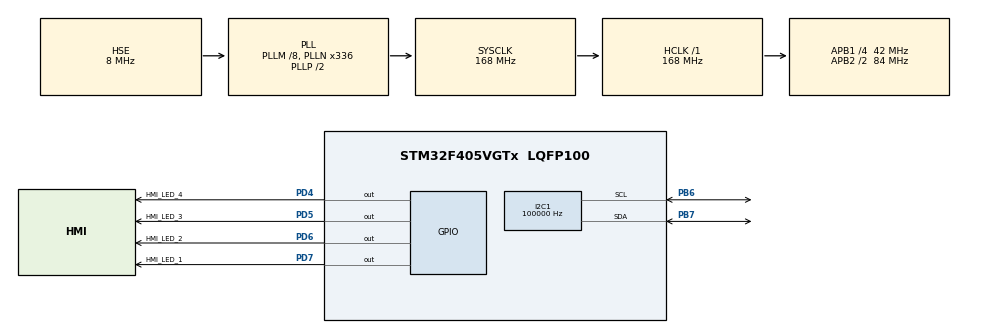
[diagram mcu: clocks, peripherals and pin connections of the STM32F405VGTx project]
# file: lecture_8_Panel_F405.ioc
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I2C1.ClockSpeed=100000
Mcu.Family=STM32F4
Mcu.Name=STM32F405VGTx
Mcu.Package=LQFP100
NVIC.PriorityGroup=NVIC_PRIORITYGROUP_4
PA13.Mode=Serial_Wire
PA13.Signal=SYS_JTMS-SWDIO
PA14.Mode=Serial_Wire
PA14.Signal=SYS_JTCK-SWCLK
PB6.Mode=I2C
PB6.Signal=I2C1_SCL
PB7.Mode=I2C
PB7.Signal=I2C1_SDA
PD4.GPIO_Label=HMI_LED_4
PD4.GPIO_ModeDefaultOutputPP=GPIO_MODE_OUTPUT_PP
PD4.GPIO_PuPd=GPIO_NOPULL
PD4.GPIO_Speed=GPIO_SPEED_FREQ_LOW
PD4.PinState=GPIO_PIN_RESET
PD4.Signal=GPIO_Output
PD5.GPIO_Label=HMI_LED_3
PD5.GPIO_ModeDefaultOutputPP=GPIO_MODE_OUTPUT_PP
PD5.GPIO_PuPd=GPIO_NOPULL
PD5.GPIO_Speed=GPIO_SPEED_FREQ_LOW
PD5.PinState=GPIO_PIN_RESET
PD5.Signal=GPIO_Output
PD6.GPIO_Label=HMI_LED_2
PD6.GPIO_ModeDefaultOutputPP=GPIO_MODE_OUTPUT_PP
PD6.GPIO_PuPd=GPIO_NOPULL
PD6.GPIO_Speed=GPIO_SPEED_FREQ_LOW
PD6.PinState=GPIO_PIN_RESET
PD6.Signal=GPIO_Output
PD7.GPIO_Label=HMI_LED_1
PD7.GPIO_ModeDefaultOutputPP=GPIO_MODE_OUTPUT_PP
PD7.GPIO_PuPd=GPIO_NOPULL
PD7.GPIO_Speed=GPIO_SPEED_FREQ_LOW
PD7.PinState=GPIO_PIN_RESET
PD7.Signal=GPIO_Output
PH0-OSC_IN.Mode=HSE-External-Oscillator
PH0-OSC_IN.Signal=RCC_OSC_IN
PH1-OSC_OUT.Mode=HSE-External-Oscillator
PH1-OSC_OUT.Signal=RCC_OSC_OUT
ProjectManager.HeapSize=0x200
ProjectManager.StackSize=0x400
ProjectManager.TargetToolchain=STM32CubeIDE
RCC.AHBFreq_Value=168000000
RCC.APB1CLKDivider=RCC_HCLK_DIV4
RCC.APB1Freq_Value=42000000
RCC.APB1TimFreq_Value=84000000
RCC.APB2CLKDivider=RCC_HCLK_DIV2
RCC.APB2Freq_Value=84000000
RCC.APB2TimFreq_Value=168000000
RCC.CortexFreq_Value=168000000
RCC.HCLKFreq_Value=168000000
RCC.HSE_VALUE=8000000
RCC.HSI_VALUE=16000000
RCC.LSE_VALUE=32768
RCC.PLLM=8
RCC.PLLN=336
RCC.PLLQ=7
RCC.PLLSourceVirtual=RCC_PLLSOURCE_HSE
RCC.SYSCLKFreq_VALUE=168000000
RCC.SYSCLKSource=RCC_SYSCLKSOURCE_PLLCLK
RCC.VCOOutputFreq_Value=336000000
board=custom

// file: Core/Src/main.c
/* USER CODE BEGIN Header */
/**
  ******************************************************************************
  * @file           : main.c
  * @brief          : Main program body
  ******************************************************************************
  * @attention
  *
  * Copyright (c) 2026 STMicroelectronics.
  * All rights reserved.
  *
  * This software is licensed under terms that can be found in the LICENSE file
  * in the root directory of this software component.
  * If no LICENSE file comes with this software, it is provided AS-IS.
  *
  ******************************************************************************
  */
/* USER CODE END Header */
#include "main.h"
#include "i2c.h"
#include "gpio.h"

/* USER CODE BEGIN Includes */
#include "light_sensor.h"
#include "OLED.h"     // [panel] a kijelzo meghajtoja (ugyanaz, mint a labor 4-ben)
#include <stdio.h>    // [panel] sprintf
/* USER CODE END Includes */

/* USER CODE BEGIN PV */

// LED limit levels
const uint16_t LIMIT_OFF = 1000;
const uint16_t LIMIT_1 = 2000;
const uint16_t LIMIT_2 = 3000;
const uint16_t LIMIT_3 = 4000;
// [panel] a szenzor cime (a light_sensor.c-ben van megadva)
extern const uint8_t LIGHT_SENSOR_ADDRESS;
/* USER CODE END PV */

void SystemClock_Config(void);

/* USER CODE BEGIN 0 */
// [panel] I2C-busz helyreallitasa. Ha a feltoltes vagy a reset egy atvitel kozepen erte a buszt,
// a szenzor lefogva tarthatja az SDA-t (neki nincs reset laba, csak a tap elvetele allitja vissza).
// Ilyenkor minden I2C-hivas hibat ad. A gyogymod: legfeljebb 9 orajel az SCL-en, amig az SDA
// el nem engedodik, aztan egy STOP. Az MX_I2C1_Init() elott kell lefutnia.
static void I2C_Bus_Recovery(void)
{
  GPIO_InitTypeDef gpio = {0};
  __HAL_RCC_GPIOB_CLK_ENABLE();
  HAL_GPIO_WritePin(GPIOB, GPIO_PIN_6 | GPIO_PIN_7, GPIO_PIN_SET);
  gpio.Pin = GPIO_PIN_6 | GPIO_PIN_7;          // PB6 = SCL, PB7 = SDA, most sima open-drain kimenetkent
  gpio.Mode = GPIO_MODE_OUTPUT_OD;
  gpio.Pull = GPIO_NOPULL;
  gpio.Speed = GPIO_SPEED_FREQ_LOW;
  HAL_GPIO_Init(GPIOB, &gpio);
  for (int i = 0; i < 9 && HAL_GPIO_ReadPin(GPIOB, GPIO_PIN_7) == GPIO_PIN_RESET; i++)
  {
    HAL_GPIO_WritePin(GPIOB, GPIO_PIN_6, GPIO_PIN_RESET);
    HAL_Delay(1);
    HAL_GPIO_WritePin(GPIOB, GPIO_PIN_6, GPIO_PIN_SET);
    HAL_Delay(1);
  }
  // START, majd STOP (SDA le, aztan fel, mikozben az SCL magas): minden eszkoz alapallapotba ker
  HAL_GPIO_WritePin(GPIOB, GPIO_PIN_7, GPIO_PIN_RESET);
  HAL_Delay(1);
  HAL_GPIO_WritePin(GPIOB, GPIO_PIN_7, GPIO_PIN_SET);
  HAL_Delay(1);
}
/* USER CODE END 0 */

int main(void)
{

  /* MCU Configuration--------------------------------------------------------*/

  /* Reset of all peripherals, Initializes the Flash interface and the Systick. */
  HAL_Init();

  /* Configure the system clock */
  SystemClock_Config();

  /* USER CODE BEGIN SysInit */
  I2C_Bus_Recovery();   // [panel] lasd fent
/* USER CODE END SysInit */

  /* Initialize all configured peripherals */
  MX_GPIO_Init();
  MX_I2C1_Init();
  /* USER CODE BEGIN 2 */

  // [panel] A kijelzo inditasa: ezen latszik a mert ertek (ebbol lehet kalibralni)
  OLED_Init();
  OLED_Fill(BLACK);
  OLED_SetCursor(0, 0);
  OLED_WriteString("Feny (CH0):", Font_7x10, WHITE);
  OLED_UpdateScreen();

/* USER CODE END 2 */

  /* Infinite loop */
  /* USER CODE BEGIN WHILE */
  // Switch on the light sensor
  Light_Sensor_Power_On(SIMPLE_MODE);

  // [panel] A szenzor a beallitasait addig megjegyzi, amig van tapja; egy rovid USB ki-be sem torli
  // (kiprobalva). Ezert az alap erositest (1x, 402 ms: TIMING = 0x02) minden indulaskor visszairjuk.
  uint8_t timing_default = 0x02;
  HAL_I2C_Mem_Write(&hi2c1, LIGHT_SENSOR_ADDRESS, TIMING, I2C_MEMADD_SIZE_8BIT, &timing_default, 1, 100);

  while (1)
  {
    /* USER CODE END WHILE */

    /* USER CODE BEGIN 3 */
	  // Measured data reading
	  uint16_t light_sensor_value = Light_Sensor_Read_Value(SIMPLE_MODE);

	  // Switch on the LEDs based on the measured value and the limit levels
	  if (light_sensor_value < LIMIT_OFF)
	  {
		  HAL_GPIO_WritePin(HMI_LED_1_GPIO_Port, HMI_LED_1_Pin, GPIO_PIN_RESET);
		  HAL_GPIO_WritePin(HMI_LED_2_GPIO_Port, HMI_LED_2_Pin, GPIO_PIN_RESET);
		  HAL_GPIO_WritePin(HMI_LED_3_GPIO_Port, HMI_LED_3_Pin, GPIO_PIN_RESET);
		  HAL_GPIO_WritePin(HMI_LED_4_GPIO_Port, HMI_LED_4_Pin, GPIO_PIN_RESET);
	  }
	  else if (light_sensor_value < LIMIT_1)
	  {
		  HAL_GPIO_WritePin(HMI_LED_1_GPIO_Port, HMI_LED_1_Pin, GPIO_PIN_SET);
		  HAL_GPIO_WritePin(HMI_LED_2_GPIO_Port, HMI_LED_2_Pin, GPIO_PIN_RESET);
		  HAL_GPIO_WritePin(HMI_LED_3_GPIO_Port, HMI_LED_3_Pin, GPIO_PIN_RESET);
		  HAL_GPIO_WritePin(HMI_LED_4_GPIO_Port, HMI_LED_4_Pin, GPIO_PIN_RESET);
	  }
	  else if (light_sensor_value < LIMIT_2)
	  {
		  HAL_GPIO_WritePin(HMI_LED_1_GPIO_Port, HMI_LED_1_Pin, GPIO_PIN_SET);
		  HAL_GPIO_WritePin(HMI_LED_2_GPIO_Port, HMI_LED_2_Pin, GPIO_PIN_SET);
		  HAL_GPIO_WritePin(HMI_LED_3_GPIO_Port, HMI_LED_3_Pin, GPIO_PIN_RESET);
		  HAL_GPIO_WritePin(HMI_LED_4_GPIO_Port, HMI_LED_4_Pin, GPIO_PIN_RESET);
	  }
	  else if (light_sensor_value < LIMIT_3)
	  {
		  HAL_GPIO_WritePin(HMI_LED_1_GPIO_Port, HMI_LED_1_Pin, GPIO_PIN_SET);
		  HAL_GPIO_WritePin(HMI_LED_2_GPIO_Port, HMI_LED_2_Pin, GPIO_PIN_SET);
		  HAL_GPIO_WritePin(HMI_LED_3_GPIO_Port, HMI_LED_3_Pin, GPIO_PIN_SET);
		  HAL_GPIO_WritePin(HMI_LED_4_GPIO_Port, HMI_LED_4_Pin, GPIO_PIN_RESET);
	  }
	  else
	  {
		  HAL_GPIO_WritePin(HMI_LED_1_GPIO_Port, HMI_LED_1_Pin, GPIO_PIN_SET);
		  HAL_GPIO_WritePin(HMI_LED_2_GPIO_Port, HMI_LED_2_Pin, GPIO_PIN_SET);
		  HAL_GPIO_WritePin(HMI_LED_3_GPIO_Port, HMI_LED_3_Pin, GPIO_PIN_SET);
		  HAL_GPIO_WritePin(HMI_LED_4_GPIO_Port, HMI_LED_4_Pin, GPIO_PIN_SET);
	  }

	  // [panel] A mert ertek kiirasa a kijelzore
	  char text[8];
	  sprintf(text, "%5u", (unsigned) light_sensor_value);
	  OLED_SetCursor(0, 20);
	  OLED_WriteString(text, Font_16x26, WHITE);
	  OLED_UpdateScreen();
  }
  /* USER CODE END 3 */
}

void SystemClock_Config(void)
{
  RCC_OscInitTypeDef RCC_OscInitStruct = {0};
  RCC_ClkInitTypeDef RCC_ClkInitStruct = {0};

  /** Configure the main internal regulator output voltage
  */
  __HAL_RCC_PWR_CLK_ENABLE();
  __HAL_PWR_VOLTAGESCALING_CONFIG(PWR_REGULATOR_VOLTAGE_SCALE1);

  /** Initializes the RCC Oscillators according to the specified parameters
  * in the RCC_OscInitTypeDef structure.
  */
  RCC_OscInitStruct.OscillatorType = RCC_OSCILLATORTYPE_HSE;
  RCC_OscInitStruct.HSEState = RCC_HSE_ON;
  RCC_OscInitStruct.PLL.PLLState = RCC_PLL_ON;
  RCC_OscInitStruct.PLL.PLLSource = RCC_PLLSOURCE_HSE;
  RCC_OscInitStruct.PLL.PLLM = 8;
  RCC_OscInitStruct.PLL.PLLN = 336;
  RCC_OscInitStruct.PLL.PLLP = RCC_PLLP_DIV2;
  RCC_OscInitStruct.PLL.PLLQ = 7;
  if (HAL_RCC_OscConfig(&RCC_OscInitStruct) != HAL_OK)
  {
    Error_Handler();
  }

  /** Initializes the CPU, AHB and APB buses clocks
  */
  RCC_ClkInitStruct.ClockType = RCC_CLOCKTYPE_HCLK|RCC_CLOCKTYPE_SYSCLK
                              |RCC_CLOCKTYPE_PCLK1|RCC_CLOCKTYPE_PCLK2;
  RCC_ClkInitStruct.SYSCLKSource = RCC_SYSCLKSOURCE_PLLCLK;
  RCC_ClkInitStruct.AHBCLKDivider = RCC_SYSCLK_DIV1;
  RCC_ClkInitStruct.APB1CLKDivider = RCC_HCLK_DIV4;
  RCC_ClkInitStruct.APB2CLKDivider = RCC_HCLK_DIV2;

  if (HAL_RCC_ClockConfig(&RCC_ClkInitStruct, FLASH_LATENCY_5) != HAL_OK)
  {
    Error_Handler();
  }
}

void Error_Handler(void)
{
  /* USER CODE BEGIN Error_Handler_Debug */
  /* User can add his own implementation to report the HAL error return state */
  // [panel] Ha a szenzor nem valaszol (rossz cim, rossz bekotes): kiirjuk, es mind a 4 LED egyutt villog
  OLED_SetCursor(0, 52);
  OLED_WriteString("I2C HIBA", Font_7x10, WHITE);
  OLED_UpdateScreen();
  __disable_irq();
  while (1)
  {
    HAL_GPIO_TogglePin(GPIOD, HMI_LED_1_Pin | HMI_LED_2_Pin | HMI_LED_3_Pin | HMI_LED_4_Pin);
    for (volatile uint32_t i = 0; i < 3000000; i++);   // kb. 0,2 s (itt a HAL_Delay nem megy: tiltva a megszakitas)
  }
/* USER CODE END Error_Handler_Debug */
}
